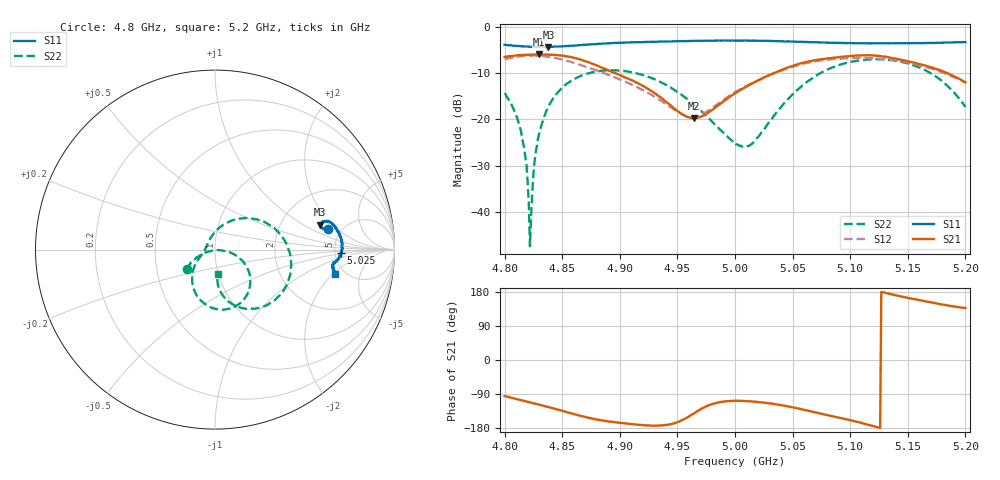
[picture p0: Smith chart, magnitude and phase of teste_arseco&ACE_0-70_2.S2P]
! Network Analyzer HP8722D
! Hewlett-Packard
! Data name: Linha & Wilkinson
! Saver's name: Rodrigo Anjos
! Comments: Teste da utilização de aquisição
! continua pelo VNA HP8722D
! Time and date: 8/5/2025 12:46
!  Frequency  S11  S21  S12  S22
# HZ  S  MA R 50
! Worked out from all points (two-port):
!   401 points, 4.8 GHz to 5.2 GHz, reference 50 ohm
!   highest |S21| = -5.99 dB at 4.83 GHz (marker M1); lowest = -19.8 dB at 4.964 GHz (marker M2)
!   |S21| within 3 dB of the highest: start of sweep to 4.886 GHz; 5.044 GHz to 5.173 GHz (128.9 MHz wide, 2.52 % of centre)
!   lowest |S11| = -4.4 dB at 4.838 GHz (marker M3), VSWR 4.04, Z = 167 + j73.3 ohm
!   |S11| at or under -10 dB: nowhere
!   |S22| runs from -47.4 to -7.0 dB; largest |S21 - S12| = 0.11
!   S11 on the Smith chart (normalised r, x): 4.8 GHz: 3.92, +1.51; 5.025 GHz: 5.67, -0.37; 5.2 GHz: 4.19, -2.10
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4.8e9  0.6386 10.3  0.4718 -95.4  0.4449 -81.5  0.1917 -145.1
4.809e9  0.6219 10.4  0.4871 -102.2  0.4707 -89.8  0.1198 -155.3
4.815e9  0.6133 11.0  0.4933 -106.5  0.4806 -95.5  0.06516 -161.2
4.818e9  0.6111 11.1  0.4964 -108.8  0.4853 -98.3  0.03931 -163.0
4.82e9  0.6099 11.3  0.4978 -110.1  0.4864 -100.4  0.02107 -159.3
4.822e9  0.6071 11.4  0.4972 -111.8  0.4875 -102.5  0.004272 -95.2
4.824e9  0.6052 11.7  0.4989 -113.4  0.4876 -104.4  0.01597 -10.0
4.827e9  0.6038 11.9  0.4996 -115.6  0.4883 -107.4  0.04407 -7.3
4.83e9  0.6046 12.4  0.5019 -117.8  0.4855 -110.3  0.06922 -8.3
4.838e9  0.6029 13.4  0.4994 -124.0  0.4731 -117.9  0.1371 -17.8
4.867e9  0.6338 14.5  0.4371 -148.3  0.3829 -140.4  0.2972 -50.8
4.899e9  0.6701 12.4  0.3045 -165.5  0.272 -155.5  0.3369 -83.0
4.934e9  0.6915 8.9  0.1771 -173.2  0.1644 -160.0  0.257 -116.2
4.964e9  0.7025 6.1  0.1027 -141.2  0.1058 -129.5  0.1457 -141.3
5e9  0.7066 1.7  0.1906 -107.8  0.1962 -102.0  0.05558 178.7
5.013e9  0.7058 0.0  0.2371 -109.0  0.2397 -104.0  0.0525 137.6
5.025e9  0.7012 -1.4  0.2825 -112.6  0.2817 -107.7  0.07757 102.5
5.067e9  0.6808 -5.2  0.4295 -136.4  0.4186 -131.7  0.2769 37.9
5.101e9  0.6653 -6.8  0.4853 -159.6  0.4575 -155.3  0.4187 -3.1
5.134e9  0.6621 -7.9  0.4642 174.7  0.4422 -178.0  0.4377 -38.6
5.171e9  0.6692 -9.5  0.3638 151.7  0.3511 158.0  0.3083 -73.5
5.2e9  0.6818 -11.3  0.2505 137.2  0.2507 145.0  0.1362 -83.5
